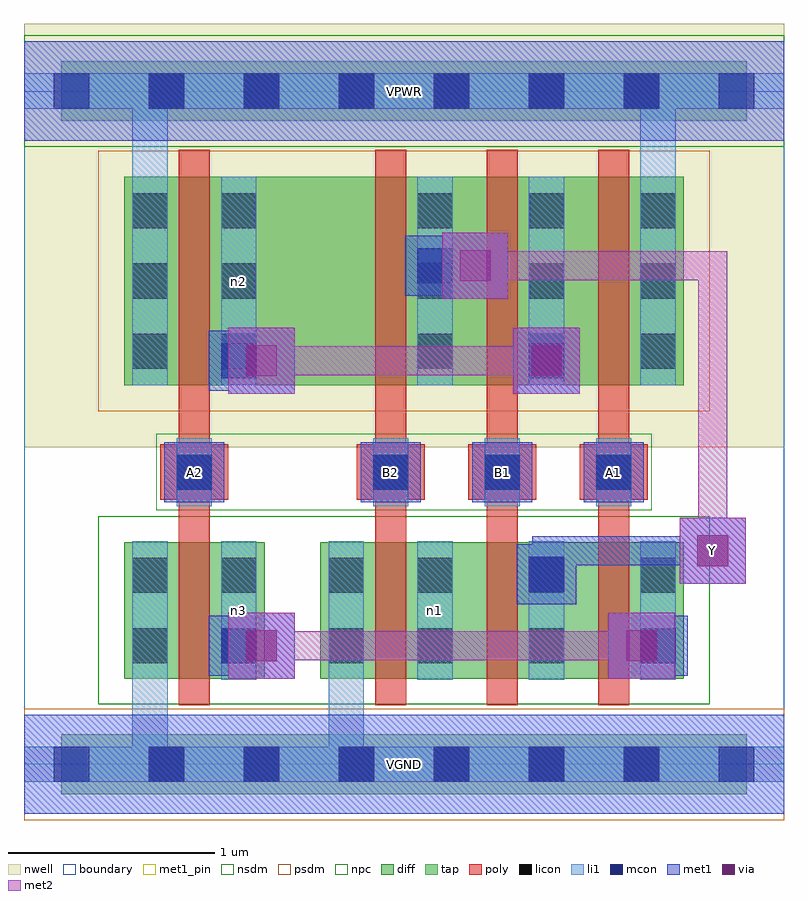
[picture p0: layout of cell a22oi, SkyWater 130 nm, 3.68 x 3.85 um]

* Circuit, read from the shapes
.subckt a22oi A1 A2 B1 B2 VGND VPWR Y n1 n2 n3
XM1 n3 A2 VGND VGND sky130_fd_pr__nfet_01v8 w=0.66 l=0.15
XM2 n1 B2 VGND VGND sky130_fd_pr__nfet_01v8 w=0.66 l=0.15
XM3 Y B1 n1 VGND sky130_fd_pr__nfet_01v8 w=0.66 l=0.15
XM4 n3 A1 Y VGND sky130_fd_pr__nfet_01v8 w=0.66 l=0.15
XM5 n2 A2 VPWR VPWR sky130_fd_pr__pfet_01v8 w=1.01 l=0.15
XM6 Y B2 n2 VPWR sky130_fd_pr__pfet_01v8 w=1.01 l=0.15
XM7 n2 B1 Y VPWR sky130_fd_pr__pfet_01v8 w=1.01 l=0.15
XM8 VPWR A1 n2 VPWR sky130_fd_pr__pfet_01v8 w=1.01 l=0.15
.ends

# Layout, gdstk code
import gdstk
lib = gdstk.Library(unit=1e-6, precision=1e-09)
def R(c, l, rs):  # rectangles x0, y0, x1, y1
    for r in rs: c.add(gdstk.rectangle(r[:2], r[2:], *l))
def A(c, l, x, y, w, h, nx, ny, dx, dy):  # array of equal rectangles
    R(c, l, [(x+i*dx, y+j*dy, x+i*dx+w, y+j*dy+h) for i in range(nx) for j in range(ny)])
nwell = (64, 20)
diff = (65, 20)
tap = (65, 44)
poly = (66, 20)
licon = (66, 44)
li1 = (67, 20)
mcon = (67, 44)
met1_pin = (68, 16)
met1 = (68, 20)
via = (68, 44)
met2 = (69, 20)
nsdm = (93, 44)
psdm = (94, 20)
npc = (95, 20)
boundary = (235, 4)

a22oi = lib.new_cell('a22oi')
R(a22oi, nwell, [(0,1.535,3.68,3.585)])
R(a22oi, diff, [(0.485,0.415,1.165,1.075), (1.435,0.415,3.195,1.075), (0.485,1.835,3.195,2.845)])
R(a22oi, tap, [(0.18,-0.145,3.5,0.145), (0.18,3.115,3.5,3.405)])
A(a22oi, poly, 1.7, 0.285, 0.15, 2.69, 3, 1, 0.54, 0)
A(a22oi, poly, 1.61, 1.28, 0.33, 0.27, 3, 1, 0.54, 0)
R(a22oi, poly, [(0.75,0.285,0.9,2.975), (0.66,1.28,0.99,1.55)])
A(a22oi, licon, 0.605, -0.085, 0.17, 0.17, 6, 2, 0.46, 3.26)
A(a22oi, licon, 1.905, 0.49, 0.17, 0.17, 3, 2, 0.54, 0.34)
A(a22oi, licon, 1.69, 1.33, 0.17, 0.17, 3, 1, 0.54, 0)
A(a22oi, licon, 0.525, 1.915, 0.17, 0.17, 1, 3, 0, 0.34)
A(a22oi, licon, 0.955, 1.915, 0.17, 0.17, 1, 3, 0, 0.34)
A(a22oi, licon, 1.905, 1.915, 0.17, 0.17, 3, 3, 0.54, 0.34)
R(a22oi, licon, [(0.525,0.49,0.695,0.66), (0.955,0.49,1.125,0.66), (1.475,0.49,1.645,0.66), (0.525,0.83,0.695,1), (0.955,0.83,1.125,1), (1.475,0.83,1.645,1), (0.74,1.33,0.91,1.5)])
A(a22oi, li1, 1.905, 0.41, 0.17, 0.67, 3, 1, 0.54, 0)
A(a22oi, li1, 1.69, 1.25, 0.17, 0.33, 3, 1, 0.54, 0)
A(a22oi, li1, 1.905, 1.835, 0.17, 1.01, 3, 1, 0.54, 0)
R(a22oi, li1, [(0,-0.085,3.68,0.085), (0.525,-0.085,0.695,1.08), (1.475,-0.085,1.645,1.08), (0.525,0.41,0.695,1.08), (0.955,0.41,1.125,1.08), (1.475,0.41,1.645,1.08), (0.74,1.25,0.91,1.58), (0.525,1.835,0.695,2.845), (0.525,1.835,0.695,3.345), (0.955,1.835,1.125,2.845), (2.985,1.835,3.155,3.345), (0,3.175,3.68,3.345)])
A(a22oi, mcon, 0.145, -0.085, 0.17, 0.17, 8, 2, 0.46, 3.26)
A(a22oi, mcon, 1.69, 1.33, 0.17, 0.17, 3, 1, 0.54, 0)
R(a22oi, mcon, [(0.955,0.49,1.125,0.66), (2.985,0.49,3.155,0.66), (2.445,0.835,2.615,1.005), (0.74,1.33,0.91,1.5), (0.955,1.87,1.125,2.04), (2.445,1.87,2.615,2.04), (1.905,2.33,2.075,2.5)])
A(a22oi, met1_pin, 1.63, 1.27, 0.29, 0.29, 3, 1, 0.54, 0)
R(a22oi, met1_pin, [(0,-0.24,3.68,0.24), (3.175,0.875,3.495,1.195), (0.68,1.27,0.97,1.56), (0,3.02,3.68,3.5)])
A(a22oi, met1, 1.63, 1.27, 0.29, 0.29, 3, 1, 0.54, 0)
R(a22oi, met1, [(0,-0.24,3.68,0.24), (0.99,0.415,1.31,0.735), (2.83,0.415,3.15,0.735), (0.895,0.43,1.185,0.72), (2.925,0.43,3.215,0.72), (0.97,0.505,1.22,0.645), (2.92,0.505,3.14,0.645), (2.385,0.775,2.675,1.065), (2.46,0.85,2.6,1.105), (3.175,0.875,3.495,1.195), (2.46,0.965,3.405,1.105), (0.68,1.27,0.97,1.56), (0.99,1.795,1.31,2.115), (2.37,1.795,2.69,2.115), (0.895,1.81,1.185,2.1), (2.385,1.81,2.675,2.1), (0.97,1.885,1.22,2.025), (2.025,2.255,2.345,2.575), (1.845,2.27,2.135,2.56), (1.92,2.345,2.255,2.485), (0,3.02,3.68,3.5)])
R(a22oi, via, [(1.075,0.5,1.225,0.65), (2.915,0.5,3.065,0.65), (3.26,0.96,3.41,1.11), (1.075,1.88,1.225,2.03), (2.455,1.88,2.605,2.03), (2.11,2.34,2.26,2.49)])
R(a22oi, met2, [(0.99,0.415,1.31,0.735), (2.83,0.415,3.15,0.735), (1.08,0.505,3.06,0.645), (3.175,0.875,3.495,1.195), (3.265,0.965,3.405,2.485), (0.99,1.795,1.31,2.115), (2.37,1.795,2.69,2.115), (1.08,1.885,2.6,2.025), (2.025,2.255,2.345,2.575), (2.115,2.345,3.405,2.485)])
R(a22oi, nsdm, [(0.36,0.29,3.32,1.2), (0,2.99,3.68,3.53)])
R(a22oi, psdm, [(0,-0.27,3.68,0.27), (0.36,1.71,3.32,2.97)])
R(a22oi, npc, [(0.64,1.23,3.04,1.6)])
R(a22oi, boundary, [(0,0,3.68,3.26)])
a22oi.add(gdstk.Label('n2', (1.04,2.34), layer=67, texttype=5))
a22oi.add(gdstk.Label('n3', (1.04,0.745), layer=67, texttype=5))
a22oi.add(gdstk.Label('n1', (1.99,0.745), layer=67, texttype=5))
a22oi.add(gdstk.Label('A1', (2.855,1.415), layer=68, texttype=5))
a22oi.add(gdstk.Label('A2', (0.825,1.415), layer=68, texttype=5))
a22oi.add(gdstk.Label('B1', (2.315,1.415), layer=68, texttype=5))
a22oi.add(gdstk.Label('B2', (1.775,1.415), layer=68, texttype=5))
a22oi.add(gdstk.Label('Y', (3.335,1.035), layer=68, texttype=5))
a22oi.add(gdstk.Label('VPWR', (1.84,3.26), layer=68, texttype=5))
a22oi.add(gdstk.Label('VGND', (1.84,0), layer=68, texttype=5))
a22oi.add(gdstk.Label('A1', (2.855,1.415), layer=68, texttype=16))
a22oi.add(gdstk.Label('A2', (0.825,1.415), layer=68, texttype=16))
a22oi.add(gdstk.Label('B1', (2.315,1.415), layer=68, texttype=16))
a22oi.add(gdstk.Label('B2', (1.775,1.415), layer=68, texttype=16))
a22oi.add(gdstk.Label('Y', (3.335,1.035), layer=68, texttype=16))
a22oi.add(gdstk.Label('VPWR', (1.84,3.26), layer=68, texttype=16))
a22oi.add(gdstk.Label('VGND', (1.84,0), layer=68, texttype=16))

lib.write_gds('a22oi.gds')
